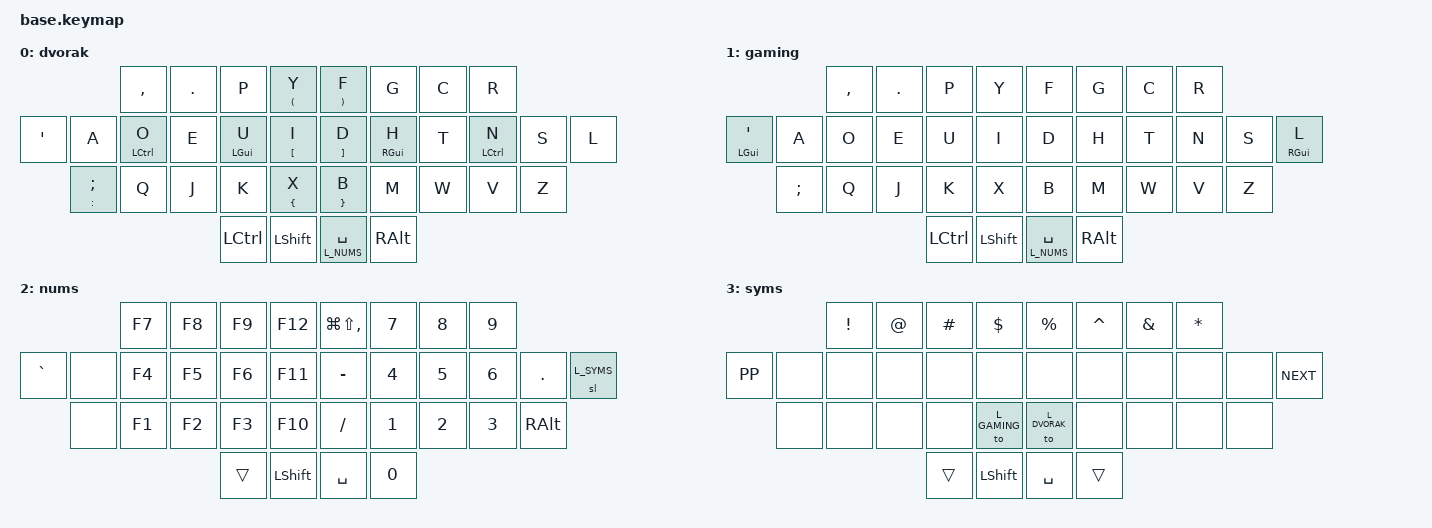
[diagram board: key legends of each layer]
#include <behaviors.dtsi>
#include <behaviors/num_word.dtsi> // requires auto-layer module
#include <dt-bindings/zmk/keys.h>
#ifdef CONFIG_WIRELESS
    #include <dt-bindings/zmk/bt.h>
    #include <dt-bindings/zmk/outputs.h>
    #define _BT_SEL_KEYS_ &bt BT_SEL 0 &bt BT_SEL 1 &bt BT_SEL 2 &bt BT_SEL 3 &bt BT_CLR
#else
    #define _BT_SEL_KEYS_ &trans &trans &trans &trans &trans
#endif
#include "zmk-helpers/helper.h"

#define L_DVORAK 0
#define L_GAMING 1
#define L_NUMS 2
#define L_SYMS 3

#define XXX &none
#define ___ &trans

/*                              34 KEY MATRIX / LAYOUT MAPPING

           ╭───────────────┬────────────────╮                 ╭─────────────────┬─────────────────╮
  ╭────────╯ 0   1   2   3 │  4   5   6   7 ╰───────╮ ╭───────╯ LT3 LT2 LT1 LT0 │ RT0 RT1 RT2 RT3 ╰───────╮
  │  8   9  10  11  12  13 │ 14  15  16  17  18  19 │ │ LM5 LM4 LM3 LM2 LM1 LM0 │ RM0 RM1 RM2 RM3 RM4 RM5 │
  ╰───╮ 20  21  22  23  24 │ 25  26  27  28  29 ╭───╯ ╰───╮ LB4 LB3 LB2 LB1 LB0 │ RB0 RB1 RB2 RB3 RB4 ╭───╯
      ╰───────────╮ 30  31 │ 32  33 ╭───────────╯         ╰───────────╮ LH1 LH0 │ RH0 RH1 ╭───────────╯
                  ╰────────┴────────╯                                 ╰─────────┴─────────╯             */

/* Global settings */

#define QUICK_TAP_MS 150
#define TAPPING_TERM_LAYERS 150
#define PRIOR_IDLE_MS 100
#define TAPPING_TERM_MS 250

#undef COMBO_HOOK
#define COMBO_HOOK require-prior-idle-ms = <PRIOR_IDLE_MS>;

&sk {  // sticky-key config
    release-after-ms = <900>;  // release after 0.9s
    quick-release;             // no double capitalization when rolling keys
};

&sl {  // sticky-layer config
    ignore-modifiers;          // allow chording sticky mods & layers
};

&lt {  // layer-tap config
	flavor = "balanced";
	tapping-term-ms = <TAPPING_TERM_LAYERS>;
	quick-tap-ms = <QUICK_TAP_MS>;
};

/* Homerow mods */

#ifndef LM5 // traditional 3x5
	#define KEYS_L LT0 LT1 LT2 LT3 LT4 LM0 LM1 LM2 LM3 LM4 LB0 LB1 LB2 LB3 LB4  // left hand
	#define KEYS_R RT0 RT1 RT2 RT3 RT4 RM0 RM1 RM2 RM3 RM4 RB0 RB1 RB2 RB3 RB4  // right hand
#else // pinky-extended 3x5-ish (osprette, steel toe, totem, etc.)
	#define KEYS_L LT0 LT1 LT2 LT3 LM0 LM1 LM2 LM3 LM4 LM5 LB0 LB1 LB2 LB3 LB4  // left hand
	#define KEYS_R RT0 RT1 RT2 RT3 RM0 RM1 RM2 RM3 RM4 RM5 RB0 RB1 RB2 RB3 RB4  // right hand
#endif

#ifndef LH2
    #define THUMBS LH1 LH0 RH0 RH1                                          // thumbs on 34 keys
#else
    #define THUMBS LH4 LH3 LH2 LH1 LH0 RH0 RH1 RH2 RH3 RH4                  // thumbs on 40 keys
#endif

#define MAKE_HRM(NAME, HOLD, TAP, TRIGGER_POS) \
    ZMK_HOLD_TAP(NAME, \
        flavor = "balanced"; \
        tapping-term-ms = <280>; \
        quick-tap-ms = <QUICK_TAP_MS>; \
        require-prior-idle-ms = <150>; \
        bindings = <HOLD>, <TAP>; \
        hold-trigger-key-positions = <TRIGGER_POS>; \
        hold-trigger-on-release; \
    )
MAKE_HRM(hml, &kp, &kp, KEYS_R THUMBS)  // left-hand HRMs
MAKE_HRM(hmr, &kp, &kp, KEYS_L THUMBS)  // right-hand HRMs

// HRM combo hack - workaround for lack of tap-only combos (ZMK issue #544)
#define ZMK_COMBO_8(NAME, TAP, KEYPOS, LAYERS, COMBO_TERM, COMBO_IDLE, HOLD, SIDE) \
    MAKE_HRM(hm_combo_ ## NAME, &kp, TAP, SIDE THUMBS) \
    ZMK_COMBO_6(NAME, &hm_combo_ ## NAME HOLD 0, KEYPOS, LAYERS, COMBO_TERM, COMBO_IDLE)

/* Combos, leader key sequences, mouse emulation */

#include "mouse.dtsi"
#include "extra_keys.h"

/* Nav cluster */

// long-tap action on hold, short-tap action on all interrupts
#define MT_CORE \
    flavor = "tap-preferred"; \
    tapping-term-ms = <TAPPING_TERM_MS>; \
    quick-tap-ms = <QUICK_TAP_MS>; \
    hold-trigger-key-positions = <0>;

&mt { MT_CORE };
ZMK_HOLD_TAP(mt_home, bindings = <&masked_home>, <&kp>; MT_CORE)
ZMK_HOLD_TAP(mt_end, bindings = <&masked_end>, <&kp>; MT_CORE)

#define NAV_LEFT  &mt_home 0   LEFT    // tap: left  | long-tap: beginning of line
#define NAV_RIGHT &mt_end 0    RIGHT   // tap: right | long-tap: end       of line
#define NAV_UP    &mt LC(HOME) UP      // tap: up    | long-tap: beginning of document
#define NAV_DOWN  &mt LC(END)  DOWN    // tap: down  | long-tap: end       of document
#define NAV_BSPC  &mt LC(BSPC) BSPC    // tap: bspc  | long-tap: delete word backward
#define NAV_DEL   &mt LC(DEL)  DEL     // tap: del   | long-tap: delete word forward

// mask CTRL when holding left/right to avoid accidental jumps to beginning/end of document
#define MASK_MODS(NAME, MODS, BINDING) \
    ZMK_MOD_MORPH(NAME, \
        bindings = <BINDING>, <BINDING>; \
        mods = <MODS>; \
    )
MASK_MODS(masked_home, (MOD_LCTL), &kp HOME)
MASK_MODS(masked_end,  (MOD_LCTL), &kp END)

/* Caps-word, num-word and smart-mouse */

// tap: sticky-shift | shift + tap/ double-tap: caps-word | hold: shift
ZMK_MOD_MORPH(smart_shft,
    bindings = <&sk LSHFT>, <&caps_word>;
    mods = <(MOD_LSFT)>;
)
&caps_word {  // mods deactivate caps-word, requires PR #1451
    /delete-property/ ignore-modifiers;
};

// smart-mouse, requires PR #1366
// ZMK_TRI_STATE(smart_mouse,
//     bindings = <&tog MOUSE>, <&none>, <&tog MOUSE>;
//     ignored-key-positions = <LT1 LT3 RT0 RT1 RT2 RT3 RT4 RM1 RM2 RM3 RB1 RB2 RB3 RH0 RH1>;
//     ignored-layers = <MOUSE>;
// )

/* Custom behaviors */

// reuse basic mod-morph scheme
#define SIMPLE_MORPH(NAME, MOD, BINDING1, BINDING2) \
    ZMK_MOD_MORPH(NAME, \
        mods = <(MOD_L ## MOD|MOD_R ## MOD)>; \
        bindings = <BINDING1>, <BINDING2>; \
    )

// tap: qmark | shift + tap: excl
// SIMPLE_MORPH(qexcl, SFT, &kp QMARK, &kp EXCL)

// tap: copy | double-tap: cut
// ZMK_TAP_DANCE(copy_cut,
//     tapping-term-ms = <200>;
//     bindings = <&kp LC(INS)>, <&kp LC(X)>;
// )

/* left-hand HRMs */
ZMK_BEHAVIOR(hml, hold_tap,
    flavor = "balanced";
    tapping-term-ms = <TAPPING_TERM_MS>;
    quick-tap-ms = <QUICK_TAP_MS>;                // repeat on tap-into-hold
    require-prior-idle-ms = <PRIOR_IDLE_MS>;
    bindings = <&kp>, <&kp>;
    hold-trigger-key-positions = <KEYS_R>;
    hold-trigger-on-release;             // delay positional check until key-release
)

/* right-hand HRMs */
ZMK_BEHAVIOR(hmr, hold_tap,
    flavor = "balanced";
    tapping-term-ms = <TAPPING_TERM_MS>;
    quick-tap-ms = <QUICK_TAP_MS>;                // repeat on tap-into-hold
    require-prior-idle-ms = <PRIOR_IDLE_MS>;
    bindings = <&kp>, <&kp>;
    hold-trigger-key-positions = <KEYS_L>;
    hold-trigger-on-release;             // delay positional check until key-release
)

// misc aliases
#define LG_ENTER &mt LGUI ENTER
#define RG_ENTER &mt RGUI ENTER
#define C_S_SPACE &kp LC(LS(SPACE))
#define A_S_SPACE &kp LA(LS(SPACE))
#define NUMS_SPACE &lt L_NUMS SPACE
#define EMOJI_PICKER &kp LG(LS(COMMA))

/* Combos and chords, the basis of basically this entire layout. */
#define COMBO_JOINTLY_MS 20
#define COMBO_LAZILY_MS 50

ZMK_COMBO(c_lsuper, LG_ENTER, LM2 LM1, ALL, COMBO_JOINTLY_MS)
ZMK_COMBO(c_rsuper, RG_ENTER, RM1 RM2, L_NUMS, COMBO_JOINTLY_MS)

ZMK_COMBO(c_bksp, &kp BSPC, 6 7, ALL, COMBO_JOINTLY_MS)
ZMK_COMBO(c_del, &kp DEL, 4 6 7, ALL, COMBO_JOINTLY_MS)
ZMK_COMBO(c_esc, &kp ESC, LT3 LT2, ALL, COMBO_JOINTLY_MS)
ZMK_COMBO(c_grv, &kp GRAVE, LT3 LT2 LT0, ALL, COMBO_JOINTLY_MS)
ZMK_COMBO(c_tab, &kp TAB, LM5 LM4, ALL, COMBO_JOINTLY_MS)
ZMK_COMBO(c_ins, &kp INS, LM5 LM4 LB4, ALL, COMBO_JOINTLY_MS)
// See comments below about c_end for some more context on this.
ZMK_COMBO(c_mins, &kp MINUS, RM2 RM3, ALL, COMBO_JOINTLY_MS)
ZMK_COMBO(c_slsh, &kp SLASH, RB2 RB3, ALL, COMBO_JOINTLY_MS)
ZMK_COMBO(c_pipe, &kp BACKSLASH, RM0 RM2 RM3, ALL, COMBO_JOINTLY_MS) // RM5 busted. Patch to 19
ZMK_COMBO(c_plus, &kp PLUS, LB0 LB2 LB3, ALL, COMBO_JOINTLY_MS)
ZMK_COMBO(c_eql, &kp EQUAL, RB0 RB2 RB3, ALL, COMBO_JOINTLY_MS)
ZMK_COMBO(c_lprn, &kp LPAR, LT0 LT1, ALL, COMBO_JOINTLY_MS)
ZMK_COMBO(c_rprn, &kp RPAR, RT0 RT1, ALL, COMBO_JOINTLY_MS)
ZMK_COMBO(c_lbrk, &kp LBKT, LB0 LB1, ALL, COMBO_JOINTLY_MS)
ZMK_COMBO(c_rbrk, &kp RBKT, RB0 RB1, ALL, COMBO_JOINTLY_MS)
// c_lbrc and c_rbrc are implicit (and more forgiving of thumb timing) given LBKT/RBKT
// ([ ]) turning into { } with Shift
ZMK_COMBO(c_arrup, &kp UP, LT1 LT2, ALL, COMBO_JOINTLY_MS)
ZMK_COMBO(c_arrleft, &kp LEFT, LM2 LM3, ALL, COMBO_JOINTLY_MS)
// A secondary option since my hands always land here and want to press it anyway
ZMK_COMBO(c_arrleft2, &kp LEFT, LM4 LM3, ALL, COMBO_JOINTLY_MS)
ZMK_COMBO(c_arrright, &kp RIGHT, LM0 LM1, ALL, COMBO_JOINTLY_MS)
ZMK_COMBO(c_arrdown, &kp DOWN, LB1 LB2, ALL, COMBO_JOINTLY_MS)
ZMK_COMBO(c_pgup, &kp PG_UP, RT1 RT2, ALL, COMBO_JOINTLY_MS)
ZMK_COMBO(c_home, &kp HOME, RM0 RM1, ALL, COMBO_JOINTLY_MS)
// End key is asymmetrical with the arrow key cluster but makes room for RM2+RM3
// dash, which feels way better on Choc spacing than what I originally had designed.
ZMK_COMBO(c_end, &kp END, RM2 19, ALL, COMBO_JOINTLY_MS)
ZMK_COMBO(c_pgdn, &kp PG_DN, RB1 RB2, ALL, COMBO_JOINTLY_MS)
ZMK_COMBO(c_supup, &kp LG(UP), LT3 LT2 LT1, ALL, COMBO_JOINTLY_MS)
ZMK_COMBO(c_supleft, &kp LG(LEFT), LM3 LM2 LM1, ALL, COMBO_JOINTLY_MS)
ZMK_COMBO(c_supright, &kp LG(RIGHT), LM2 LM1 LM0, ALL, COMBO_JOINTLY_MS) // Was LMB0. Assumed LM0
ZMK_COMBO(c_supdn, &kp LG(DOWN), LB3 LB2 LB1, ALL, COMBO_JOINTLY_MS)
ZMK_COMBO(c_lockscreen, &kp LG(HOME), RM0 RM1 RM2, ALL, COMBO_JOINTLY_MS)
ZMK_COMBO(c_closewin, &kp LG(END), RM0 RM2 19, ALL, COMBO_JOINTLY_MS)
ZMK_COMBO(c_mfa, &kp LG(O), LT2 LT1 LT0, ALL, COMBO_JOINTLY_MS)
ZMK_COMBO(c_pwd, &kp LG(LC(O)), RT0 RT1 RT2, ALL, COMBO_JOINTLY_MS)
ZMK_COMBO(c_brightup, &kp C_BRI_UP, RT1 RT2 RT3, ALL, COMBO_JOINTLY_MS)
ZMK_COMBO(c_brightdn, &kp C_BRI_DN, RB1 RB2 RB3, ALL, COMBO_JOINTLY_MS)
ZMK_COMBO(c_voldn, &kp K_VOL_DN, LB2 LB1 LB0, ALL, COMBO_JOINTLY_MS)
ZMK_COMBO(c_volup, &kp K_VOL_UP, RB0 RB1 RB2, ALL, COMBO_JOINTLY_MS)

ZMK_COMBO(c_volmute, &kp K_MUTE, LB2 LB1 LB0 RB0 RB1 RB2, ALL, COMBO_LAZILY_MS)
ZMK_COMBO(c_syms, &mo L_SYMS, LH0 RH0, ALL, COMBO_LAZILY_MS)
ZMK_COMBO(c_bootloader, &bootloader, 8 9 20 31 32 18 19 29, ALL, COMBO_LAZILY_MS)

/* Keymap */

ZMK_LAYER(dvorak,
//                             ╭─────────────┬─────────────┬─────────────┬─────────────╮ ╭─────────────┬─────────────┬─────────────┬─────────────╮
                                 &kp COMMA     &kp DOT       &kp P         &mt LPAR Y      &mt RPAR F    &kp G         &kp C         &kp R
// ╭─────────────┬─────────────┼─────────────┼─────────────┼─────────────┼─────────────┤ ├─────────────┼─────────────┼─────────────┼─────────────┼─────────────┬─────────────╮
     &kp SQT       &kp A         &hml LCTL O   &kp E         &hml LGUI U   &mt LBKT I      &mt RBKT D    &hmr RGUI H   &kp T         &hmr LCTL N   &kp S         &kp L
// ╰─────────────├─────────────┼─────────────┼─────────────┼─────────────┼─────────────┤ ├─────────────┼─────────────┼─────────────┼─────────────┼─────────────┤─────────────╯
                   &mt COLON SEMICOLON &kp Q   &kp J         &kp K         &mt LBRC X      &mt RBRC B    &kp M         &kp W         &kp V         &kp Z
//               ╰─────────────┴─────────────┴─────────────┼─────────────┼─────────────┤ ├─────────────┼─────────────┼─────────────┴─────────────┴─────────────╯
                                                             &kp LCTL      &kp LSHFT       NUMS_SPACE    &kp RALT
//                                                         ╰─────────────┴─────────────╯ ╰─────────────┴─────────────╯
)

ZMK_LAYER(gaming,
//                             ╭─────────────┬─────────────┬─────────────┬─────────────╮ ╭─────────────┬─────────────┬─────────────┬─────────────╮
                                 &kp COMMA     &kp DOT       &kp P         &kp Y           &kp F         &kp G         &kp C         &kp R
// ╭─────────────┬─────────────┼─────────────┼─────────────┼─────────────┼─────────────┤ ├─────────────┼─────────────┼─────────────┼─────────────┼─────────────┬─────────────╮
     &hml LGUI SQT &kp A         &kp O         &kp E         &kp U         &kp I           &kp D         &kp H         &kp T         &kp N         &kp S         &hmr RGUI L
// ╰─────────────├─────────────┼─────────────┼─────────────┼─────────────┼─────────────┤ ├─────────────┼─────────────┼─────────────┼─────────────┼─────────────┤─────────────╯
                   &kp SEMICOLON &kp Q         &kp J         &kp K         &kp X           &kp B         &kp M         &kp W         &kp V         &kp Z
//               ╰─────────────┴─────────────┴─────────────┼─────────────┼─────────────┤ ├─────────────┼─────────────┼─────────────┴─────────────┴─────────────╯
                                                             &kp LCTL      &kp LSHFT       NUMS_SPACE    &kp RALT
//                                                         ╰─────────────┴─────────────╯ ╰─────────────┴─────────────╯
)

ZMK_LAYER(nums,
//                             ╭─────────────┬─────────────┬─────────────┬─────────────╮ ╭─────────────┬─────────────┬─────────────┬─────────────╮
                                 &kp F7        &kp F8        &kp F9        &kp F12         EMOJI_PICKER  &kp N7         &kp N8        &kp N9
// ╭─────────────┬─────────────┼─────────────┼─────────────┼─────────────┼─────────────┤ ├─────────────┼─────────────┼─────────────┼─────────────┼─────────────┬─────────────╮
     &kp GRAVE     XXX           &kp F4        &kp F5        &kp F6        &kp F11         &kp MINUS     &kp N4         &kp N5        &kp N6        &kp DOT       &sl L_SYMS
// ╰─────────────├─────────────┼─────────────┼─────────────┼─────────────┼─────────────┤ ├─────────────┼─────────────┼─────────────┼─────────────┼─────────────┤─────────────╯
                   XXX           &kp F1        &kp F2        &kp F3        &kp F10         &kp SLASH     &kp N1         &kp N2        &kp N3        &kp RALT
//               ╰─────────────┴─────────────┴─────────────┼─────────────┼─────────────┤ ├─────────────┼─────────────┼─────────────┴─────────────┴─────────────╯
                                                             ___           &kp LSHFT       &kp SPACE     &kp N0
//                                                         ╰─────────────┴─────────────╯ ╰─────────────┴─────────────╯
)

ZMK_LAYER(syms,
//                             ╭─────────────┬─────────────┬─────────────┬─────────────╮ ╭─────────────┬─────────────┬─────────────┬─────────────╮
                                 &kp EXCL      &kp AT        &kp POUND     &kp DLLR        &kp PRCNT     &kp CARET     &kp AMPS      &kp STAR
// ╭─────────────┬─────────────┼─────────────┼─────────────┼─────────────┼─────────────┤ ├─────────────┼─────────────┼─────────────┼─────────────┼─────────────┬─────────────╮
     &kp K_PP      XXX           XXX           XXX           XXX           XXX             XXX           XXX           XXX           XXX           XXX           &kp K_NEXT
// ╰─────────────├─────────────┼─────────────┼─────────────┼─────────────┼─────────────┤ ├─────────────┼─────────────┼─────────────┼─────────────┼─────────────┤─────────────╯
                   XXX           XXX           XXX           XXX           &to L_GAMING    &to L_DVORAK  XXX           XXX           XXX           XXX
//               ╰─────────────┴─────────────┴─────────────┼─────────────┼─────────────┤ ├─────────────┼─────────────┼─────────────┴─────────────┴─────────────╯
                                                             ___           &kp LSHFT       &kp SPACE     ___
//                                                         ╰─────────────┴─────────────╯ ╰─────────────┴─────────────╯
)

/* vim: set ft=c tw=174: */
